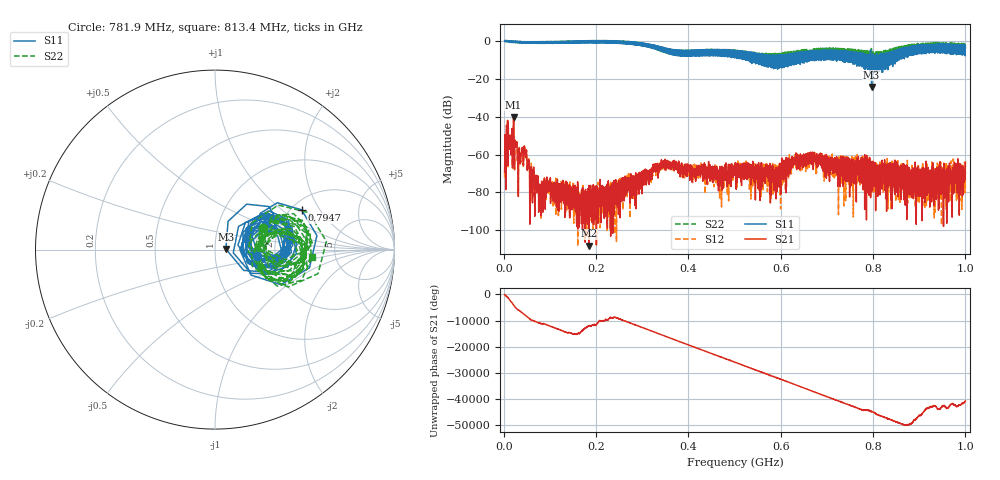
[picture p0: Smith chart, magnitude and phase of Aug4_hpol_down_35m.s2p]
!Keysight Technologies N9923A: A.12.45
!Date: Tuesday, 05 August 2025 18:48:41
!Timezone: (UTC+08:00) Kuala Lumpur, Singapore
!Model: N9923A
!Serial: MY61181427
!GPS Latitude:
!GPS Longitude:
!GPS TimeStamp: 0001-01-01 00:00:00Z
!GPS Seconds Since Last Read: 0
!CHECKSUM:0616395025
!Correction: S11(ON U)S21(ON U)S12(ON U)S22(ON U)
!S2P File: Measurements:S11,S21,S12,S22:
# Hz S DB R 50
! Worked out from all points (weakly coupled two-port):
!   4001 points, 2 MHz to 1 GHz, reference 50 ohm
!   highest |S21| = -40.21 dB at 21.46 MHz (marker M1); lowest = -108.1 dB at 184.6 MHz (marker M2)
!   lowest |S11| = -24.3 dB at 796.9 MHz (marker M3), VSWR 1.13, Z = 56.4 + j0.406 ohm
!   |S11| at or under -10 dB: 575.8146 MHz to 576.6215 MHz (807 kHz wide, 0.14 % of centre); 582.5673 MHz to 583.3735 MHz (806.2 kHz wide, 0.138 % of centre); 796.3803 MHz to 797.3692 MHz (988.9 kHz wide, 0.124 % of centre)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
!   |S22| runs from -14.6 to 0.1 dB; largest |S21 - S12| = 0.001
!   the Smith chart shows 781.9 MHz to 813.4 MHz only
!   S11 on the Smith chart (normalised r, x): 781.9 MHz: 1.60, -0.12; 794.7 MHz: 2.27, +1.40; 813.4 MHz: 1.67, +0.52
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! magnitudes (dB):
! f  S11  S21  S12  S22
! 2 MHz  -0.1  -69.3  -72.1  -0.1
! 9.984 MHz  0.0  -47.4  -47.4  0.0
! 21.46 MHz  -0.5  -40.2  -40.2  -0.4
! 34.19 MHz  -1.1  -57.3  -57.3  -1.2
! 44.91 MHz  -0.6  -55.9  -55.5  -0.6
! 58.89 MHz  -0.8  -67.2  -67.3  -0.8
! 80.59 MHz  -0.7  -79.6  -81.7  -0.6
! 168.4 MHz  -1.2  -96.4  -78.9  -1.0
! 184.6 MHz  -0.2  -108.1  -87.7  0.0
! 283.4 MHz  -0.7  -78.2  -75.5  -0.7
! 334.8 MHz  -3.9  -65.2  -65.7  -4.6
! 501 MHz  -6.0  -70.4  -65.1  -6.7
! 589.1 MHz  -7.9  -72.0  -65.6  -6.7
! 628 MHz  -8.1  -64.6  -61.0  -5.5
! 667.4 MHz  -8.9  -60.2  -63.8  -8.5
! 781.9 MHz  -12.6  -89.0  -68.6  -10.6
! 794.7 MHz  -5.5  -82.8  -66.8  -6.8
! 796.9 MHz  -24.3  -68.2  -67.9  -7.3
! 813.4 MHz  -10.1  -65.4  -67.7  -5.3
! 833.8 MHz  -9.8  -66.6  -79.5  -5.4
! 987.3 MHz  -7.1  -70.2  -79.3  -2.7
! 1 GHz  -2.4  -64.0  -69.4  -2.8
